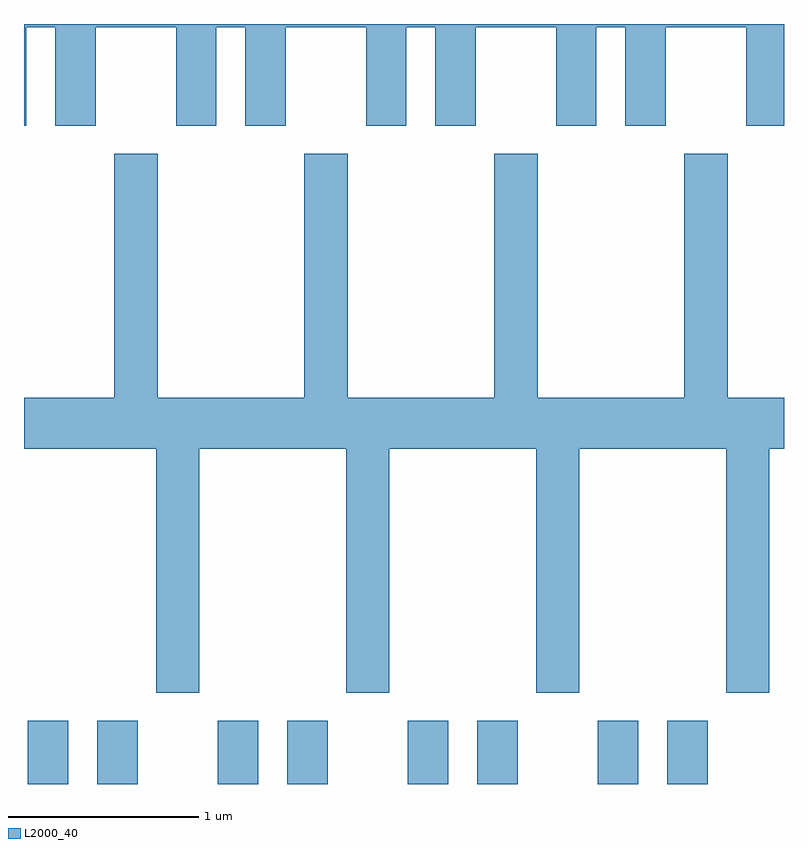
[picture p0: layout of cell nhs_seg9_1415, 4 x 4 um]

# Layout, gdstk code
import gdstk
lib = gdstk.Library(unit=1e-6, precision=1e-09)
def R(c, l, rs):  # rectangles x0, y0, x1, y1
    for r in rs: c.add(gdstk.rectangle(r[:2], r[2:], *l))
def P(c, l, *ps):  # polygons
    for p in ps: c.add(gdstk.Polygon(p, *l))
L2000_40 = (2000, 40)

nhs_seg9_1415 = lib.new_cell('nhs_seg9_1415')
R(nhs_seg9_1415, L2000_40, [(225.631,2054.432,225.844,2054.764), (225.996,2054.432,226.209,2054.764), (226.631,2054.432,226.844,2054.764), (226.996,2054.432,227.209,2054.764), (227.631,2054.432,227.844,2054.764), (227.996,2054.432,228.209,2054.764), (228.631,2054.432,228.844,2054.764), (228.996,2054.432,229.209,2054.764)])
P(nhs_seg9_1415, L2000_40, [(225.624,2058.416),(225.776,2058.416),(225.776,2057.896),(225.989,2057.896),(225.989,2058.416),(226.411,2058.416),(226.411,2057.896),(226.624,2057.896),(226.624,2058.416),(226.776,2058.416),(226.776,2057.896),(226.989,2057.896),(226.989,2058.416),(227.411,2058.416),(227.411,2057.896),(227.624,2057.896),(227.624,2058.416),(227.776,2058.416),(227.776,2057.896),(227.989,2057.896),(227.989,2058.416),(228.411,2058.416),(228.411,2057.896),(228.624,2057.896),(228.624,2058.416),(228.776,2058.416),(228.776,2057.896),(228.989,2057.896),(228.989,2058.416),(229.411,2058.416),(229.411,2057.896),(229.611,2057.896),(229.611,2058.432),(225.611,2058.432),(225.611,2057.896),(225.624,2057.896)],
  [(226.534,2056.196),(227.306,2056.196),(227.306,2054.911),(227.534,2054.911),(227.534,2056.196),(228.306,2056.196),(228.306,2054.911),(228.534,2054.911),(228.534,2056.196),(229.306,2056.196),(229.306,2054.911),(229.534,2054.911),(229.534,2056.196),(229.611,2056.196),(229.611,2056.464),(229.314,2056.464),(229.314,2057.749),(229.086,2057.749),(229.086,2056.464),(228.314,2056.464),(228.314,2057.749),(228.086,2057.749),(228.086,2056.464),(227.314,2056.464),(227.314,2057.749),(227.086,2057.749),(227.086,2056.464),(226.314,2056.464),(226.314,2057.749),(226.086,2057.749),(226.086,2056.464),(225.611,2056.464),(225.611,2056.196),(226.306,2056.196),(226.306,2054.911),(226.534,2054.911)])

lib.write_gds('nhs_seg9_1415.gds')
